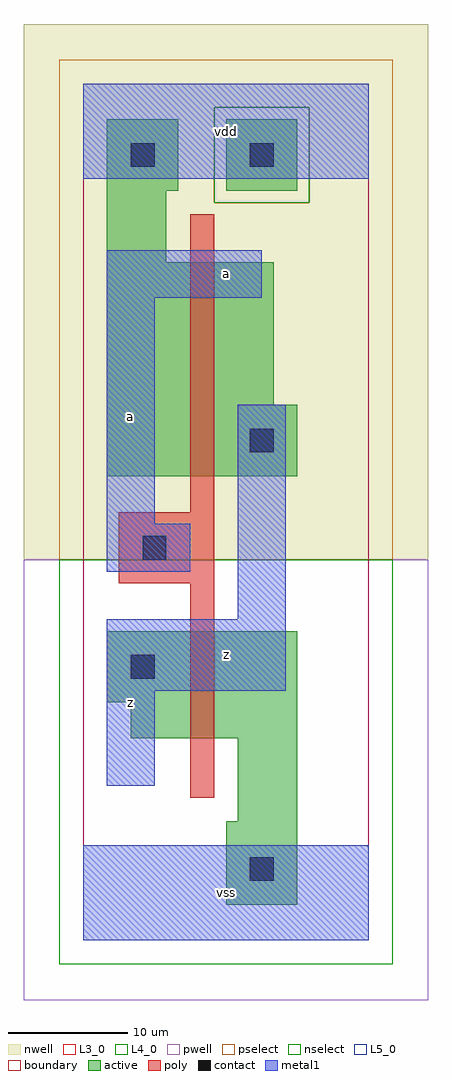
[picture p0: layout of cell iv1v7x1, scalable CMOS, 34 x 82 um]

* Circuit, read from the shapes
.subckt iv1v7x1 a vdd vss z
M1 vss a z VSUBS nfet w=9u l=2u
M2 z a vdd vdd pfet w=18u l=2u
.ends

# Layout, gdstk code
import gdstk
lib = gdstk.Library(unit=1e-6, precision=1e-09)
def R(c, l, rs):  # rectangles x0, y0, x1, y1
    for r in rs: c.add(gdstk.rectangle(r[:2], r[2:], *l))
L3_0 = (3, 0)
L4_0 = (4, 0)
L5_0 = (5, 0)
contact = (25, 0)
pwell = (41, 0)
nwell = (42, 0)
active = (43, 0)
pselect = (44, 0)
nselect = (45, 0)
poly = (46, 0)
metal1 = (49, 0)
boundary = (63, 0)

iv1v7x1 = lib.new_cell('iv1v7x1')
R(iv1v7x1, L3_0, [(12,3,18,10), (13,10,18,17), (4,17,18,20), (2,20,18,26)])
R(iv1v7x1, L4_0, [(2,39,18,45), (2,45,16,57), (2,57,7,63), (2,63,8,69)])
R(iv1v7x1, L5_0, [(12,63,18,69)])
R(iv1v7x1, contact, [(14,5,16,7), (4,22,6,24), (5,32,7,34), (14,41,16,43), (4,65,6,67), (14,65,16,67)])
R(iv1v7x1, pwell, [(-5,-5,29,32)])
R(iv1v7x1, nwell, [(-5,32,29,77)])
R(iv1v7x1, active, [(12,3,18,10), (13,10,18,17), (4,17,18,20), (2,20,18,26), (2,39,18,45), (2,45,16,57), (2,57,7,63), (2,63,8,69), (12,63,18,69)])
R(iv1v7x1, pselect, [(-2,32,26,62), (-2,62,11,70), (19,62,26,70), (-2,70,26,74)])
R(iv1v7x1, nselect, [(-2,-2,26,32), (11,62,19,70)])
R(iv1v7x1, poly, [(9,12,11,30), (3,30,11,36), (9,36,11,61)])
R(iv1v7x1, metal1, [(0,0,24,8), (2,13,6,21), (2,21,17,27), (13,27,17,45), (2,31,9,35), (2,35,6,54), (2,54,15,58), (0,64,24,72)])
R(iv1v7x1, boundary, [(0,0,24,72)])
iv1v7x1.add(gdstk.Label('z', (4,20), layer=49, texttype=0))
iv1v7x1.add(gdstk.Label('a', (4,44), layer=49, texttype=0))
iv1v7x1.add(gdstk.Label('vss', (12,4), layer=49, texttype=0))
iv1v7x1.add(gdstk.Label('z', (12,24), layer=49, texttype=0))
iv1v7x1.add(gdstk.Label('vdd', (12,68), layer=49, texttype=0))
iv1v7x1.add(gdstk.Label('a', (12,56), layer=49, texttype=0))

lib.write_gds('iv1v7x1.gds')
